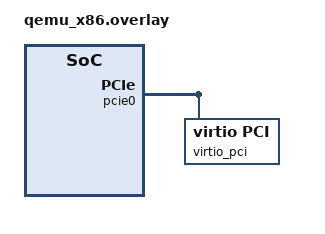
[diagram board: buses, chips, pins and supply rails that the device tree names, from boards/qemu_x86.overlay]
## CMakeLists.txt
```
# SPDX-License-Identifier: Apache-2.0

cmake_minimum_required(VERSION 3.28.0)

find_package(Zephyr REQUIRED HINTS $ENV{ZEPHYR_BASE})
project(virtiofs)

target_sources(app PRIVATE src/main.c)
```

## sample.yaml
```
sample:
  name: virtio filesystem sample
common:
  tags:
    - fdtable
    - filesystem
    - virtio
tests:
  sample.filesystem.virtiofs:
    build_only: true
    filter: CONFIG_DT_HAS_VIRTIO_PCI_ENABLED
```

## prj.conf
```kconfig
CONFIG_VIRTIO=y
CONFIG_PCIE_HOST=y
CONFIG_FILE_SYSTEM=y
CONFIG_FILE_SYSTEM_VIRTIOFS=y
CONFIG_HEAP_MEM_POOL_SIZE=100000
CONFIG_MAIN_STACK_SIZE=16384
# The vhost-user-fs device is static and baked into the image here. The
# matching "-chardev socket,id=char0,path=<socket>" flag is supplied at run
# time (by twister for the virtiofs harness, or via QEMU_EXTRA_FLAGS for a
# manual "west build -t run") so the socket path can be unique per run.
CONFIG_QEMU_EXTRA_FLAGS="-device vhost-user-fs-pci,queue-size=1024,chardev=char0,tag=myfs -m 32M -object memory-backend-memfd,id=mem,size=32M,share=on -numa node,memdev=mem"
```

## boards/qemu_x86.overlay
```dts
&pcie0 {
	virtio_pci: virtio_pci {
		compatible = "virtio,pci";

		vendor-id = <0x1af4>;
		device-id = <0x105a>;

		interrupts = <0xb 0x0 0x0>;
		interrupt-parent = <&intc>;

		status = "okay";
	};
};
```

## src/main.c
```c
/*
 * Copyright (c) 2025 Antmicro <www.antmicro.com>
 *
 * SPDX-License-Identifier: Apache-2.0
 */

#include <stdio.h>
#include <string.h>
#include <zephyr/device.h>
#include <zephyr/fs/fs.h>
#include <zephyr/fs/virtiofs.h>
#include <zephyr/kernel.h>

#define VIRTIO_DEV DEVICE_DT_GET(DT_NODELABEL(virtio_pci))

#define MOUNT_POINT "/virtiofs"

struct virtiofs_fs_data fs_data;

static struct fs_mount_t mp = {
	.type = FS_VIRTIOFS,
	.fs_data = &fs_data,
	.flags = 0,
	.storage_dev = (void *)VIRTIO_DEV,
	.mnt_point = MOUNT_POINT,
};

void dirtree(const char *path, int indent)
{
	struct fs_dir_t dir;

	fs_dir_t_init(&dir);
	if (fs_opendir(&dir, path) == 0) {
		while (1) {
			struct fs_dirent entry;

			if (fs_readdir(&dir, &entry) == 0) {
				if (entry.name[0] == '\0') {
					break;
				}
				if (entry.type == FS_DIR_ENTRY_DIR) {
					printf("%*s- %s (type=dir)\n", indent * 2, "", entry.name);
					char *subdir_path = k_malloc(
						strlen(path) + strlen(entry.name) + 2
					);

					if (subdir_path == NULL) {
						printf("failed to allocate subdir path\n");
						continue;
					}
					strcpy(subdir_path, path);
					strcat(subdir_path, "/");
					strcat(subdir_path, entry.name);
					dirtree(subdir_path, indent + 1);
					k_free(subdir_path);
				} else {
					printf(
						"%*s- %s (type=file, size=%zu)\n",
						indent * 2, "", entry.name, entry.size
					);
				}
			} else {
				printf("failed to readdir %s\n", path);
				break;
			}
		};

		fs_closedir(&dir);
	} else {
		printf("failed to opendir %s\n", path);
	}
}

void create_file(const char *path, const char *content)
{
	struct fs_file_t file;

	fs_file_t_init(&file);
	if (fs_open(&file, path, FS_O_CREATE | FS_O_WRITE) == 0) {
		fs_write(&file, content, strlen(content) + 1);
	} else {
		printf("failed to create %s\n", path);
	}
	fs_close(&file);
}

void print_file(const char *path)
{
	struct fs_file_t file;

	fs_file_t_init(&file);
	if (fs_open(&file, path, FS_O_READ) == 0) {
		char buf[256] = "\0";
		int read_c = fs_read(&file, buf, sizeof(buf));

		if (read_c >= 0) {
			buf[read_c] = 0;

			printf(
				"%s content:\n"
				"%s\n",
				path, buf
			);
		} else {
			printf("failed to read from %s\n", path);
		}

		fs_close(&file);
	} else {
		printf("failed to open %s\n", path);
	}
}

int main(void)
{
	if (fs_mount(&mp) == 0) {
		printf("%s directory tree:\n", MOUNT_POINT);
		dirtree(MOUNT_POINT, 0);
		printf("\n");

		print_file(MOUNT_POINT"/file");

		create_file("/virtiofs/file_created_by_zephyr", "hello world\n");

		create_file("/virtiofs/second_file_created_by_zephyr", "lorem ipsum\n");

		fs_mkdir("/virtiofs/dir_created_by_zephyr");
	} else {
		printf("failed to mount %s\n", MOUNT_POINT);
	}

	return 0;
}
```
